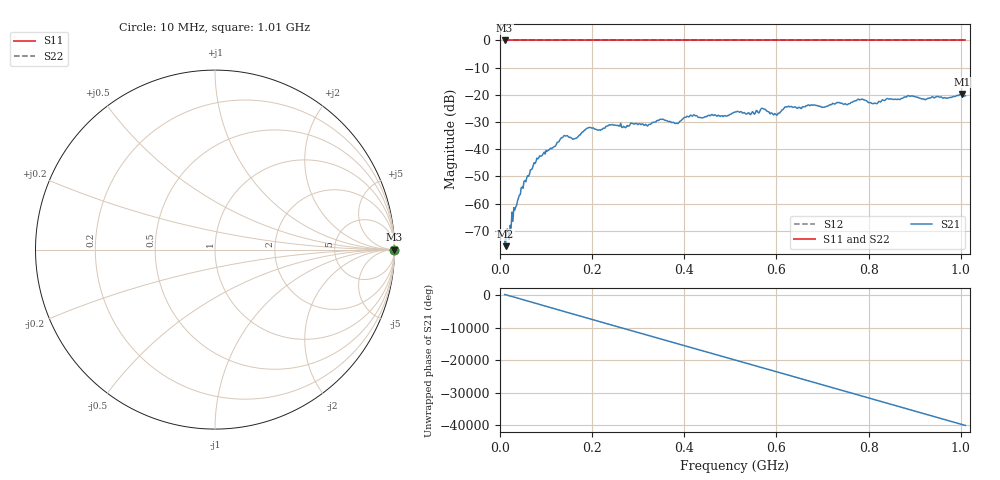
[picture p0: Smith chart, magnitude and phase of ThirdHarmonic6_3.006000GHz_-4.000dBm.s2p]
! 8/17/2025 8:36:29 AM
! C:\ANRITSUVNA\TEMP\TEMP.S2P
! CHANNEL.1
! TR.MEASUREMENT
! RAW.DATA
! RF.CORRECTION.OFF
! AVERAGING.OFF
! IF.BANDWIDTH: 5KHZ
! SWEEPTYPE:  FREQ.SWEEP(Linear)
! Reference Plane Port Info
! PORT:  PORT1  PORT2
! DISTANCE:  0  m  0  m
! TIME:  0  s  0  s
! PHASE.OFFSET:  0  deg.  0  deg.
! LOSS:  0  dB  0  dB
! REF.LOSS:  0  dB  0  dB
! REF.FREQ:  0  Hz  0  Hz
! Power Info
! POWER:  -20  dBm  -20  dBm
! EFF.POWER:  -20  dBm  -20  dBm
! SOURCE.ATTEN:  0  dB  0  dB
! TEST.ATTEN:  0  dB  0  dB
# GHZ S RI R 50.0
! FREQ.GHZ  S11RE  S11IM  S21RE  S21IM  S12RE  S12IM  S22RE  S22IM
!; PortSelection: Port_12
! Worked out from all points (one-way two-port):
!   501 points, 10 MHz to 1.01 GHz, reference 50 ohm
!   highest |S21| = -19.71 dB at 1.002 GHz (marker M1); lowest = -75.6 dB at 12 MHz (marker M2)
!   lowest |S11| = 0.0 dB at 10 MHz (marker M3)
!   |S11| at or under -10 dB: nowhere
!   |S22| runs from 0.0 to 0.0 dB; largest |S21 - S12| = 1.1
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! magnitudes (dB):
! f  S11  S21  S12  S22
! 10 MHz  0.0  -73.5  0.0  0.0
! 12 MHz  0.0  -75.6  0.0  0.0
! 24 MHz  0.0  -69.0  0.0  0.0
! 30 MHz  0.0  -61.5  0.0  0.0
! 50 MHz  0.0  -54.3  0.0  0.0
! 78 MHz  0.0  -44.6  0.0  0.0
! 136 MHz  0.0  -35.7  0.0  0.0
! 162 MHz  0.0  -36.1  0.0  0.0
! 178 MHz  0.0  -33.8  0.0  0.0
! 192 MHz  0.0  -32.1  0.0  0.0
! 322 MHz  0.0  -31.1  0.0  0.0
! 344 MHz  0.0  -29.4  0.0  0.0
! 384 MHz  0.0  -30.5  0.0  0.0
! 416 MHz  0.0  -27.8  0.0  0.0
! 510 MHz  0.0  -26.3  0.0  0.0
! 570 MHz  0.0  -25.0  0.0  0.0
! 598 MHz  0.0  -27.0  0.0  0.0
! 622 MHz  0.0  -24.4  0.0  0.0
! 678 MHz  0.0  -23.8  0.0  0.0
! 844 MHz  0.0  -21.6  0.0  0.0
! 1.002 GHz  0.0  -19.7  0.0  0.0
! 1.01 GHz  0.0  -20.3  0.0  0.0
